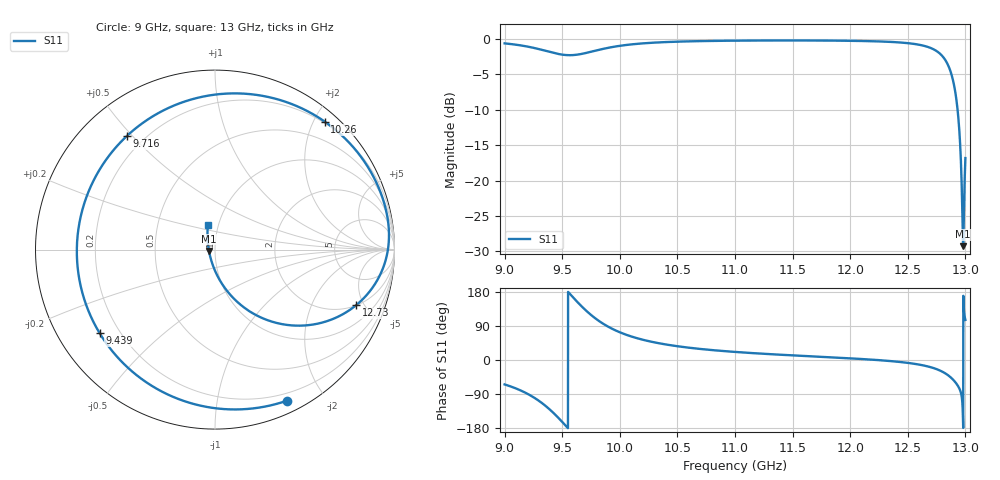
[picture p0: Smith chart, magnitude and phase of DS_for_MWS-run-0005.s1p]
! TOUCHSTONE file generated by CST DESIGN STUDIO
! Date and time: Tue Feb  4 18:25:15 2025
! Project name: C:\Work\MatlabApps\UnitCellOptimizationMatlab\CST\unitcell.cst
! Tree item: Tasks\Sweep1\SPara1\S-Parameters
! Header version: 2024
! Port assignment regex: !\s*Touchstone port\s*([0-9]+)\s*=\s*(CST MWS port|CST DES external port|CST DES block port)\s*(.+)\s* \(\"(.*)\"\)(\s*mode\s*([0-9]+))?.*
! Touchstone port assignment:
! Touchstone port 1 = CST DES external port 1 ("")
# GHz S MA R 50
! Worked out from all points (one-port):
!   4001 points, 9 GHz to 13 GHz, reference 50 ohm
!   lowest |S11| = -29.3 dB at 12.98 GHz (marker M1), VSWR 1.07, Z = 46.7 - j0.72 ohm
!   |S11| at or under -10 dB: 12.93 GHz to end of sweep
!   S11 on the Smith chart (normalised r, x): 9 GHz: 0.12, -1.58; 9.439 GHz: 0.13, -0.32; 9.716 GHz: 0.14, +0.48; 10.26 GHz: 0.18, +2.17; 12.73 GHz: 2.02, -4.37; 13 GHz: 0.89, +0.25
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9  0.9324 -64.5
9.126  0.9059 -78.6
9.259  0.8644 -99.9
9.351  0.828 -120.0
9.439  0.7936 -144.1
9.5  0.7764 -163.3
9.55  0.7698 -179.9
9.6  0.7714 163.4
9.716  0.801 127.9
9.776  0.8234 112.6
9.841  0.8477 98.5
10  0.8959 73.2
10.12  0.9205 60.2
10.257  0.9394 49.3
10.5  0.9588 36.4
11  0.9744 21.3
11.5  0.9777 12.2
12  0.9722 4.4
12.5  0.9358 -7.6
12.726  0.8449 -21.5
12.819  0.7246 -34.1
12.9  0.4796 -54.2
12.938  0.2828 -69.8
12.951  0.2026 -77.5
12.968  0.0923 -96.5
12.98  0.03447 -167.1
12.991  0.08404 120.0
13  0.1445 105.8
